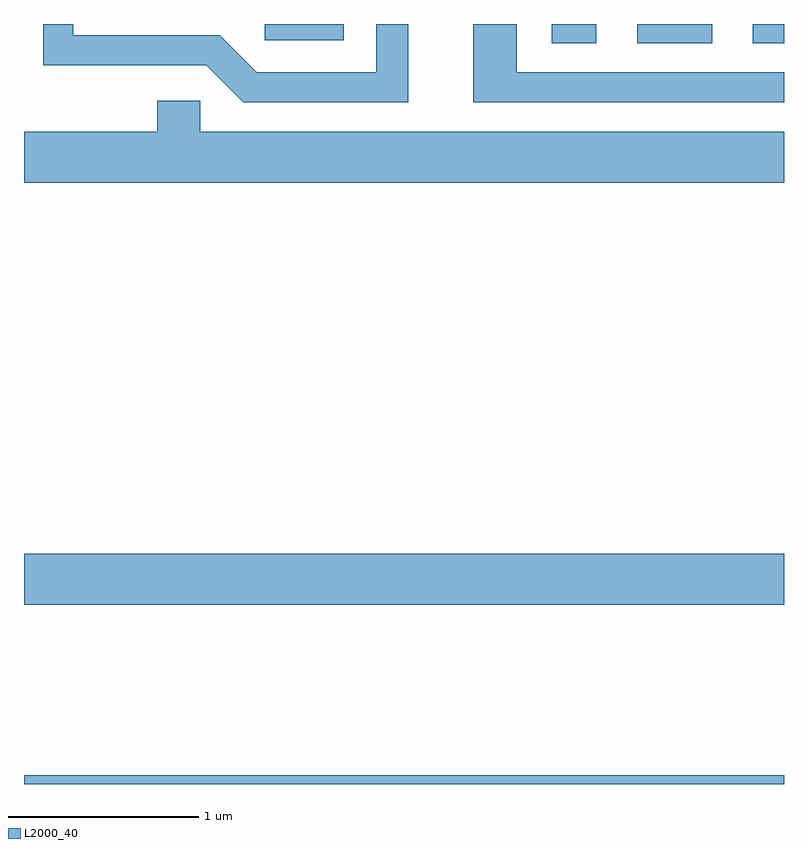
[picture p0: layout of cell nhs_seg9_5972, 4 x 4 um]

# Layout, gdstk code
import gdstk
lib = gdstk.Library(unit=1e-6, precision=1e-09)
def R(c, l, rs):  # rectangles x0, y0, x1, y1
    for r in rs: c.add(gdstk.rectangle(r[:2], r[2:], *l))
def P(c, l, *ps):  # polygons
    for p in ps: c.add(gdstk.Polygon(p, *l))
L2000_40 = (2000, 40)

nhs_seg9_5972 = lib.new_cell('nhs_seg9_5972')
R(nhs_seg9_5972, L2000_40, [(361.611,1986.432,365.611,1986.479), (361.611,1987.376,365.611,1987.644), (364.388,1990.331,364.624,1990.432), (364.838,1990.331,365.234,1990.432), (365.446,1990.331,365.611,1990.432), (362.878,1990.346,363.294,1990.432)])
P(nhs_seg9_5972, L2000_40, [(365.611,1990.179),(364.204,1990.179),(364.204,1990.432),(363.976,1990.432),(363.976,1990.021),(365.611,1990.021)],
  [(363.634,1990.432),(363.466,1990.432),(363.466,1990.179),(362.837,1990.179),(362.642,1990.374),(361.869,1990.374),(361.869,1990.432),(361.711,1990.432),(361.711,1990.216),(362.569,1990.216),(362.764,1990.021),(363.634,1990.021)],
  [(365.611,1989.864),(362.539,1989.864),(362.539,1990.029),(362.311,1990.029),(362.311,1989.864),(361.611,1989.864),(361.611,1989.596),(365.611,1989.596)])

lib.write_gds('nhs_seg9_5972.gds')
